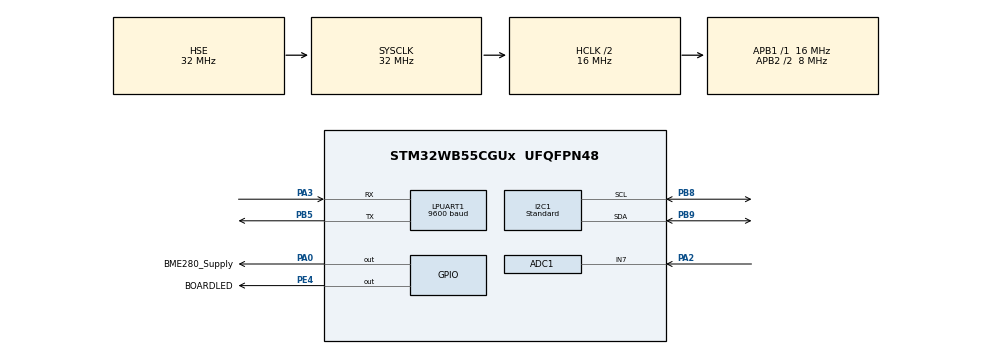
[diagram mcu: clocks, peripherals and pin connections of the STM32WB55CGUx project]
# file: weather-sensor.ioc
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ADC1.Channel-0\#ChannelRegularConversion=ADC_CHANNEL_VREFINT
ADC1.Channel-1\#ChannelRegularConversion=ADC_CHANNEL_TEMPSENSOR
ADC1.Channel-2\#ChannelRegularConversion=ADC_CHANNEL_7
ADC1.ClockPrescaler=ADC_CLOCK_ASYNC_DIV8
ADC1.NbrOfConversion=3
ADC1.NbrOfConversionFlag=1
ADC1.OffsetNumber-0\#ChannelRegularConversion=ADC_OFFSET_NONE
ADC1.OffsetNumber-1\#ChannelRegularConversion=ADC_OFFSET_NONE
ADC1.OffsetNumber-2\#ChannelRegularConversion=ADC_OFFSET_NONE
ADC1.OversamplingMode=ENABLE
ADC1.Rank-0\#ChannelRegularConversion=1
ADC1.Rank-1\#ChannelRegularConversion=2
ADC1.Rank-2\#ChannelRegularConversion=3
ADC1.Ratio=ADC_OVERSAMPLING_RATIO_128
ADC1.RightBitShift=ADC_RIGHTBITSHIFT_7
ADC1.SamplingTime-0\#ChannelRegularConversion=ADC_SAMPLETIME_640CYCLES_5
ADC1.SamplingTime-1\#ChannelRegularConversion=ADC_SAMPLETIME_640CYCLES_5
ADC1.SamplingTime-2\#ChannelRegularConversion=ADC_SAMPLETIME_640CYCLES_5
ADC1.master=1
I2C1.I2C_Speed_Mode=I2C_Standard
I2C1.Speed=100
I2C1.Timing=0x00303D5B
IWDG.Prescaler=IWDG_PRESCALER_256
IWDG.Window=4095
LPTIM1.ClockPrescaler=LPTIM_PRESCALER_DIV32
LPUART1.BaudRate=9600
Mcu.Family=STM32WB
Mcu.Name=STM32WB55CGUx
Mcu.Package=UFQFPN48
NVIC.C2SEV_PWR_C2H_IRQn=true\:0\:0\:false\:false\:true\:true\:false\:true
NVIC.FLASH_IRQn=true\:0\:0\:false\:false\:true\:true\:true\:true
NVIC.HSEM_IRQn=true\:0\:0\:false\:false\:true\:false\:true\:true
NVIC.IPCC_C1_RX_IRQn=true\:0\:0\:false\:false\:true\:true\:true\:true
NVIC.IPCC_C1_TX_IRQn=true\:0\:0\:false\:false\:true\:true\:true\:true
NVIC.PWR_SOTF_BLEACT_802ACT_RFPHASE_IRQn=true\:0\:0\:false\:false\:true\:true\:false\:true
NVIC.PriorityGroup=NVIC_PRIORITYGROUP_4
NVIC.RTC_WKUP_IRQn=true\:0\:0\:false\:false\:true\:true\:true\:true
OSC_IN.Mode=HSE-External-Oscillator
OSC_IN.Signal=RCC_OSC_IN
OSC_OUT.Mode=HSE-External-Oscillator
OSC_OUT.Signal=RCC_OSC_OUT
PA0.GPIO_Label=BME280_Supply
PA0.GPIO_Speed=GPIO_SPEED_FREQ_HIGH
PA0.Signal=GPIO_Output
PA2.Signal=ADCx_IN7
PA3.Mode=Asynchronous
PA3.Signal=LPUART1_RX
PB5.Mode=Asynchronous
PB5.Signal=LPUART1_TX
PB8.GPIO_Pu=GPIO_NOPULL
PB8.GPIO_Speed=GPIO_SPEED_FREQ_HIGH
PB8.Mode=I2C
PB8.Signal=I2C1_SCL
PB9.GPIO_Pu=GPIO_NOPULL
PB9.GPIO_Speed=GPIO_SPEED_FREQ_HIGH
PB9.Mode=I2C
PB9.Signal=I2C1_SDA
PC14-OSC32_IN.Mode=LSE-External-Oscillator
PC14-OSC32_IN.Signal=RCC_OSC32_IN
PC15-OSC32_OUT.Mode=LSE-External-Oscillator
PC15-OSC32_OUT.Signal=RCC_OSC32_OUT
PE4.GPIO_Label=BOARDLED
PE4.Signal=GPIO_Output
ProjectManager.HeapSize=0x19000
ProjectManager.StackSize=0x1000
ProjectManager.TargetToolchain=STM32CubeIDE
RCC.ADCCLockSelection=RCC_ADCCLKSOURCE_SYSCLK
RCC.ADCFreq_Value=32000000
RCC.AHB3CLKDivider=RCC_SYSCLK_DIV4
RCC.AHBCLKDivider=RCC_SYSCLK_DIV2
RCC.AHBFreq_Value=16000000
RCC.APB1Freq_Value=16000000
RCC.APB1TimFreq_Value=16000000
RCC.APB2CLKDivider=RCC_HCLK_DIV2
RCC.APB2Freq_Value=8000000
RCC.APB2TimFreq_Value=16000000
RCC.APB3Freq_Value=16000000
RCC.CortexFreq_Value=16000000
RCC.HCLKFreq_Value=16000000
RCC.HSE_VALUE=32000000
RCC.HSI48_VALUE=48000000
RCC.HSI_VALUE=16000000
RCC.LPTIM1CLockSelection=RCC_LPTIM1CLKSOURCE_LSI
RCC.LPUART1CLockSelection=RCC_LPUART1CLKSOURCE_LSE
RCC.PLLM=RCC_PLLM_DIV8
RCC.PLLN=24
RCC.PLLP=RCC_PLLP_DIV30
RCC.PLLQ=RCC_PLLQ_DIV8
RCC.PLLSAI1N=4
RCC.PLLSAI1Q=RCC_PLLQ_DIV4
RCC.PLLSourceVirtual=RCC_PLLSOURCE_HSE
RCC.RFWKPClockSelection=RCC_RFWKPCLKSOURCE_LSE
RCC.RTCClockSelection=RCC_RTCCLKSOURCE_LSE
RCC.SMPSCLockSelection=RCC_SMPSCLKSOURCE_HSE
RCC.SMPSDivider=4
RCC.SYSCLKFreq_VALUE=32000000
RCC.SYSCLKSource=RCC_SYSCLKSOURCE_HSE
RCC.USBFreq_Value=4000000
RCC.VCOOutputFreq_Value=96000000
RF1.Mode=RF1_Activate
RF1.Signal=RF_RF1
RTC.Alarm-Alarm\ A=RTC_ALARM_A
RTC.AlarmMaskHours-Alarm\ A=RTC_ALARMMASK_HOURS
RTC.AlarmMaskMinutes-Alarm\ A=RTC_ALARMMASK_MINUTES
RTC.AlarmMaskSeconds-Alarm\ A=RTC_ALARMMASK_SECONDS
RTC.Format=RTC_FORMAT_BIN
RTC.Hours_A-Alarm\ A=23
RTC.Minutes_A-Alarm\ A=59
RTC.Seconds_A-Alarm\ A=59
RTC.SubSeconds_A-Alarm\ A=59
RTC.WakeUpClock-WakeUp=RTC_WAKEUPCLOCK_RTCCLK_DIV16
RTC.WakeUpCounter-WakeUp=0x2000
SH.ADCx_IN7.0=ADC1_IN7,IN7-Single-Ended
STM32_WPAN.APPLI_CONFIG_LOG_LEVEL=LOG_LEVEL_DEBG
STM32_WPAN.CB_ELECTRICALMEASUREMENT_SERVER_GETPROFILEINFO_ENDPOINT1=true
STM32_WPAN.CFG_DEBUG_TRACE_FULL=1
STM32_WPAN.CFG_DEBUG_TRACE_LIGHT=1
STM32_WPAN.CFG_DEBUG_TRACE_UART=hw_lpuart1
STM32_WPAN.CFG_HW_LPUART1_ENABLED=1
STM32_WPAN.CFG_HW_USART1_ENABLED=1
STM32_WPAN.CFG_LPM_SUPPORTED=1
STM32_WPAN.CFG_USE_SMPS=1
STM32_WPAN.ENDPOINT1_DEVICE_ID=ZCL_DEVICE_SIMPLE_SENSOR
STM32_WPAN.ZCL_ELECTRICALMEASUREMENT_ENDPOINT1=SERVER
STM32_WPAN.ZCL_ILLUMINANCE_MEASUREMENT_ENDPOINT1=NONE
STM32_WPAN.ZCL_ONOFF_ENDPOINT1=NONE
STM32_WPAN.ZCL_POWER_CONFIGURATION_ENDPOINT1=NONE
STM32_WPAN.ZCL_PRESSURE_MEASUREMENT_ENDPOINT1=SERVER
STM32_WPAN.ZCL_TEMPERATURE_MEASUREMENT_ENDPOINT1=SERVER
STM32_WPAN.ZCL_WATER_CONTENT_MEASUREMENT_ENDPOINT1=SERVER
STM32_WPAN.ZGB_APPLICATION=RFD
STM32_WPAN.ZGB_CHANNEL=26
STM32_WPAN.ZGB_DEVICE_ROLE=END_DEVICE
STM32_WPAN.ZGB_NB_ENDPOINTS=1
STM32_WPAN.ZGB_SLEEPY_MODE=ON
STM32_WPAN.ZPARAM_TEMPERATURE_MEASUREMENT_MAX_ENDPOINT1=5000
STM32_WPAN.ZPARAM_TEMPERATURE_MEASUREMENT_MIN_ENDPOINT1=-2000
STM32_WPAN.ZPARAM_TEMPERATURE_MEASUREMENT_TOLERANCE_ENDPOINT1=200
VP_ADC1_TempSens_Input.Mode=IN-TempSens
VP_ADC1_Vref_Input.Mode=IN-Vrefint
VP_HSEM_VS_HSEM.Mode=HSEM_Activate
VP_IPCC_VS_IPCC.Mode=IPCC_Activate
VP_IWDG_VS_IWDG.Mode=IWDG_Activate
VP_LPTIM1_VS_LPTIM_counterModeInternalClock.Mode=Counts__internal_clock_event_00
VP_MEMORYMAP_VS_MEMORYMAP.Mode=CurAppReg
VP_RTC_VS_RTC_Activate.Mode=RTC_Enabled
VP_RTC_VS_RTC_Alarm_A_Intern.Mode=Alarm A
VP_RTC_VS_RTC_Calendar.Mode=RTC_Calendar
VP_RTC_VS_RTC_WakeUp_intern.Mode=WakeUp
VP_SEQUENCER_VS_SEQUENCER.Mode=SEQUENCER_Enabled
VP_STM32_WPAN_VS_ZIGBEE.Mode=MOD_ZGB_ENDPOINT
VP_TINY_LPM_VS_TINY_LPM.Mode=TINY_LPM_Enabled
board=custom

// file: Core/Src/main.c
/* USER CODE BEGIN Header */
/**
  ******************************************************************************
  * @file           : main.c
  * @brief          : Main program body
  ******************************************************************************
  * @attention
  *
  * Copyright (c) 2025 STMicroelectronics.
  * All rights reserved.
  *
  * This software is licensed under terms that can be found in the LICENSE file
  * in the root directory of this software component.
  * If no LICENSE file comes with this software, it is provided AS-IS.
  *
  ******************************************************************************
  */
/* USER CODE END Header */
#include "main.h"

/* USER CODE BEGIN Includes */
#include "stm32_seq.h"
#include "stm_logging.h"
#include "dbg_trace.h"
#include "zigbee.h"
#include "app_zigbee.h"
#include "stm32_lpm.h"
#include "stm32_lpm_if.h"
#include "hw_if.h"

#include "zcl/general/zcl.press.meas.h"
#include "zcl/general/zcl.temp.meas.h"
#include "zcl/general/zcl.elec.meas.h"
#include "zcl/general/zcl.wcm.h"

#include "bme280_support.h"
#include "aht20.h"
/* USER CODE END Includes */

/* USER CODE BEGIN PD */

#define HW_TS_SERVER_20S_NB_TICKS                    (SENSOR_INTERVAL *1000*1000/CFG_TS_TICK_VAL) /* 20s */
/* USER CODE END PD */

I2C_HandleTypeDef hi2c1;

IPCC_HandleTypeDef hipcc;

IWDG_HandleTypeDef hiwdg;

UART_HandleTypeDef hlpuart1;

RTC_HandleTypeDef hrtc;

/* USER CODE BEGIN PV */
struct bme280_data bme280_meas_data;

#if USE_AHT20

static aht20_data_t aht20_data;

#endif

uint8_t hwSensorTimerId = CFG_HW_TS_MAX_NBR_CONCURRENT_TIMER;
uint8_t hwActiveTimerId = CFG_HW_TS_MAX_NBR_CONCURRENT_TIMER;

static unsigned SysTicks_us = 0;

uint8_t adc_num_conversions = 0;
int vrefplus = 0;
int internal_tc = 0;
int adc1_voltage = 0;

unsigned iwdg_update_req = 0;
unsigned iwdg_update_cnt = 0;

/* USER CODE END PV */

void SystemClock_Config(void);
void PeriphCommonClock_Config(void);
static void MX_GPIO_Init(void);
static void MX_IPCC_Init(void);
static void MX_RTC_Init(void);
static void MX_I2C1_Init(void);
static void MX_IWDG_Init(void);
static void MX_ADC1_Init(void);
static void MX_LPTIM1_Init(void);
static void MX_LPUART1_UART_Init(void);
static void MX_RF_Init(void);
/* USER CODE BEGIN PFP */
static void setup_lptimer(void);

static void ADC_check(int idx);
static void ADC_check_print(void);

/* USER CODE END PFP */

/* USER CODE BEGIN 0 */

static uint32_t dbg_counter = 0, dbg_prev = 0;

static int wait_for_flag(uint32_t (*flag_func)(const ADC_TypeDef *ADCx), uint32_t flag)
{
	uint32_t timeout = 1000; //ms
	uint32_t count = 0;
	uint32_t prev = HAL_GetTick();

	while (flag_func(ADC1) != flag)
	{
		HAL_Delay(20);
		count = HAL_GetTick() - prev;
		if (count > timeout) {
			dbg_counter = count;
			dbg_prev = prev;
			return -1;
		}
	}
	return count;
}

static void read_voltage_and_temp(void)
{
	int32_t adc_readings[adc_num_conversions];
	int32_t wait_time[adc_num_conversions];

	if (LL_ADC_IsActiveFlag_ADRDY(ADC1) == 0) { /* ADC is not ready */
		APP_DBG("ADC not ready.");
		return;
	}

	unsigned i;
	for (i = 0; i < adc_num_conversions; i++) {
		LL_ADC_REG_StartConversion(ADC1);
		wait_time[i] = wait_for_flag(LL_ADC_IsActiveFlag_EOC, 1);
		if (wait_time[i] < 0) {
			APP_DBG("ADC CH%d timeout", i);
			return;
		}
		adc_readings[i] = LL_ADC_REG_ReadConversionData12(ADC1);
	}

	int vref_adc = adc_readings[0];
	int temp_adc = adc_readings[1];
	int ch1_adc  = adc_readings[2];

	if (vref_adc > 0)
		vrefplus = __LL_ADC_CALC_VREFANALOG_VOLTAGE(vref_adc, LL_ADC_RESOLUTION_12B);
	if(temp_adc > 0)
		internal_tc = 100* __LL_ADC_CALC_TEMPERATURE(vrefplus, temp_adc, LL_ADC_RESOLUTION_12B);

	adc1_voltage = __LL_ADC_CALC_DATA_TO_VOLTAGE(vrefplus, ch1_adc, LL_ADC_RESOLUTION_12B);
}

/* Enable the ADC as explained in Examples_LL/ADC_SingleConversion_TriggerSW_Init */
static int adc_enable(void)
{
	/* First, turn on the power */
	LL_ADC_DisableDeepPowerDown(ADC1);
	LL_ADC_EnableInternalRegulator(ADC1);

	/* Delay for voltage regulator stabilization */
	HAL_Delay(1);

	/* Clear ADC group regular conversion flag and overrun flag               */
    /* (To ensure of no unknown state from potential previous ADC operations) */
	LL_ADC_ClearFlag_EOC(ADC1);
	LL_ADC_ClearFlag_EOS(ADC1);
	LL_ADC_ClearFlag_EOSMP(ADC1);
	LL_ADC_ClearFlag_OVR(ADC1);

	/* Run ADC self calibration and wait for completion */
        LL_ADC_StartCalibration(ADC1, LL_ADC_SINGLE_ENDED);
        if (wait_for_flag(LL_ADC_IsCalibrationOnGoing, 0) < 0) {
    	   ADC_check(1);
    	   return -1;
        }
	/* Another short delay is needed here */
	HAL_Delay(1);

	/* Now enable the ADC and wait for its Ready flag */
	LL_ADC_Enable(ADC1);
	if (wait_for_flag(LL_ADC_IsActiveFlag_ADRDY, 1) < 0) {
		return -2;
	}
//	APP_DBG("ADC regs: CR:0x%x ISR:0x%x", ADC1->CR, ADC1->ISR);
	return 0;
}

/* Disable the ADC as described in RM034*/
static void adc_disable(void)
{
	/* Stop conversions and wait for ADSTP to clear*/
	LL_ADC_REG_StopConversion(ADC1);
	while (LL_ADC_REG_IsStopConversionOngoing(ADC1)) {}

	/* Clear Ready flag */
	LL_ADC_ClearFlag_ADRDY(ADC1);

	/* Set disable bit and wait for ADEN to clear */
	LL_ADC_Disable(ADC1);
	while (LL_ADC_IsEnabled(ADC1)) {}

	/* Finally, cut the power */
	LL_ADC_DisableInternalRegulator(ADC1);
	LL_ADC_EnableDeepPowerDown(ADC1);
}

/*
 * Main application loop. Read the sensors and update Zigbee attributes.
 * */

void seq_main_loop(void)
{
	LL_GPIO_SetOutputPin(BME280_Supply_GPIO_Port, BME280_Supply_Pin);

	HAL_Delay(10);

	MX_I2C1_Init();

	int adc_res = adc_enable();
	if (0 == adc_res) {
		read_voltage_and_temp();
		if (0 == adc1_voltage) {
			APP_DBG("ADC regs: CR:0x%x ISR:0x%x", ADC1->CR, ADC1->ISR);
		}
	} else {
		APP_DBG("ADC error: %d", adc_res);
		ADC_check_print();
		APP_DBG("Timeout counters: %u, %u", dbg_counter, dbg_prev);
	}

	adc_disable();

	/*
	 * Voltage at the ADC pin is produced by the voltage divider, where R1=1M, and R2=330K.
	 * After calibration I have obtained this ratio: 8105/2048, choosing power of 2 as a scale for performance reason.
	 * */
	int vdd_divided = (adc1_voltage * 8105) / 2048;

	/* Update the ADC attributes so that C2 can possibly begin transmission while we read the I2C sensors. */
	APP_ZIGBEE_update_ADC_outputs(vdd_divided);

	int8_t bme280_status = bme280_setup();

#if USE_AHT20
	HAL_Delay(50);
	aht_status_t aht_status = aht20_setup();
#endif

	if (BME280_OK == bme280_status) {
		bme280_status = bme280_read_measurements(&bme280_meas_data);
		bme280_meas_data.humidity = (bme280_meas_data.humidity * 100 + 512) / 1024;
	}

	if (BME280_OK != bme280_status) {
		bme280_meas_data.temperature = ZCL_TEMP_MEAS_UNKNOWN;
		bme280_meas_data.pressure = ZCL_PRESS_MEAS_UNKNOWN;
		bme280_meas_data.humidity = ZCL_WC_MEAS_UNKNOWN;

	}

#if USE_AHT20
	bme280_meas_data.humidity = ZCL_WC_MEAS_UNKNOWN;
	if (AHT_NO_ERROR == aht_status) {
		HAL_Delay(50);
		aht_status = aht20_read_measurements(&aht20_data);
		if (AHT_NO_ERROR == aht_status) {
			bme280_meas_data.humidity = aht20_data.humidity;
		}

		/* Use AHT temperature measurement if BMP280 data is unavailable. */
		if (ZCL_TEMP_MEAS_UNKNOWN == bme280_meas_data.temperature) {
			bme280_meas_data.temperature = aht20_data.temperature;
/*
		} else {
		    if (bme280_meas_data.temperature < 128 && bme280_meas_data.temperature > 0) {
			bme280_meas_data.temperature = (bme280_meas_data.temperature * bme280_meas_data.temperature +
			    aht20_data.temperature * (128 - bme280_meas_data.temperature)) / 128;
		    } else if (bme280_meas_data.temperature <= 0) {
			bme280_meas_data.temperature = aht20_data.temperature;
		    }
*/
		}
	}
#endif

	LL_GPIO_ResetOutputPin(BME280_Supply_GPIO_Port, BME280_Supply_Pin);
	HAL_I2C_DeInit(&hi2c1);

	/* Update the attributes with fresh data*/
	APP_ZIGBEE_update_BME280_outputs(bme280_meas_data.temperature,
		bme280_meas_data.pressure, bme280_meas_data.humidity);

}

static void rtc_read_update_sensors(void)
{
	/* Queue the sensor readout routine to be run in the main application loop. */
	UTIL_SEQ_SetTask(1<< CFG_TASK_MAIN_LOOP, CFG_SCH_PRIO_0);

	/* Check Zigbee link health and request IWDG refresh if appropriate. */
	zigbee_check_link();

	if (iwdg_update_req != iwdg_update_cnt) {
	    iwdg_update_cnt = iwdg_update_req;
	    HAL_IWDG_Refresh(&hiwdg);
	    APP_DBG("Watchdog refreshed.")
	}
}
void startSensorUpdates(void)
{
	if (hwSensorTimerId != CFG_HW_TS_MAX_NBR_CONCURRENT_TIMER) {
//		UTIL_SEQ_SetTask(1<< CFG_TASK_MAIN_LOOP, CFG_SCH_PRIO_0);
		seq_main_loop();
		HW_TS_Start(hwSensorTimerId, HW_TS_SERVER_20S_NB_TICKS);
	}
}

void stopSensorUpdates(void)
{
	if (hwSensorTimerId != CFG_HW_TS_MAX_NBR_CONCURRENT_TIMER) {
		HW_TS_Stop(hwSensorTimerId);
	}
}

/* Setup daily restart */
void HAL_RTC_AlarmAEventCallback(RTC_HandleTypeDef *hrtc)
{
	HAL_NVIC_SystemReset();
}

#if CFG_DEBUG_TRACE
/* Debugging routine to direct the log output to the USB */
int _write(int file, char *ptr, int len) {

	HAL_StatusTypeDef res = HAL_UART_Transmit(&hlpuart1, (uint8_t *)ptr, len, 2000);
	if (HAL_OK != res)
		return 0;
	return len;
}
#endif

/*
 * Set the flag allowing to refresh IWDG in the next RTC timer call, see rtc_read_update_sensors().
 */
void update_watchdog(void)
{
  iwdg_update_req += 1;
}
/* USER CODE END 0 */

int main(void)
{

  /* USER CODE BEGIN 1 */
/*
 * Disable auto-generated initialization calls
 */
#define MX_I2C1_Init()

#if  !CFG_DEBUG_TRACE
#define MX_LPUART1_UART_Init()
#endif
  /* USER CODE END 1 */

  /* MCU Configuration--------------------------------------------------------*/

  /* Reset of all peripherals, Initializes the Flash interface and the Systick. */
  HAL_Init();
  /* Config code for STM32_WPAN (HSE Tuning must be done before system clock configuration) */
  MX_APPE_Config();

  /* Configure the system clock */
  SystemClock_Config();

/* Configure the peripherals common clocks */
  PeriphCommonClock_Config();

  /* IPCC initialisation */
  MX_IPCC_Init();

  /* USER CODE BEGIN SysInit */
  SysTicks_us = SystemCoreClock / 1000000U;
  /* USER CODE END SysInit */

  /* Initialize all configured peripherals */
  MX_GPIO_Init();
  MX_RTC_Init();
  MX_I2C1_Init();
  MX_IWDG_Init();
  MX_ADC1_Init();
//  MX_LPTIM1_Init();
  MX_LPUART1_UART_Init();
  MX_RF_Init();
  /* USER CODE BEGIN 2 */
  ADC_check_print();

#undef MX_I2C1_Init

#if  !CFG_DEBUG_TRACE
#undef MX_LPUART1_UART_Init
#endif
  /* USER CODE END 2 */

  /* Init code for STM32_WPAN */
  MX_APPE_Init();

  /* Infinite loop */
  /* USER CODE BEGIN WHILE */
  UTIL_SEQ_RegTask(1U << CFG_TASK_MAIN_LOOP, UTIL_SEQ_RFU, seq_main_loop);

  if (hw_ts_Successful != HW_TS_Create(CFG_TIM_ZIGBEE_APP_BME280_REPEAT, &hwSensorTimerId, hw_ts_Repeated, rtc_read_update_sensors)) {
	  hwSensorTimerId = CFG_HW_TS_MAX_NBR_CONCURRENT_TIMER;
  }
/*
  if (hw_ts_Successful != HW_TS_Create(CFG_TIM_ZIGBEE_APP_BME280_ONESHOT, &hwActiveTimerId, hw_ts_SingleShot, enable_power_saving_mode)) {
	  hwActiveTimerId = CFG_HW_TS_MAX_NBR_CONCURRENT_TIMER;
  }
*/
  while (1)
  {
    /* USER CODE END WHILE */
    MX_APPE_Process();

  }
}

void SystemClock_Config(void)
{
  RCC_OscInitTypeDef RCC_OscInitStruct = {0};
  RCC_ClkInitTypeDef RCC_ClkInitStruct = {0};

  /** Configure LSE Drive Capability
  */
  HAL_PWR_EnableBkUpAccess();
  __HAL_RCC_LSEDRIVE_CONFIG(RCC_LSEDRIVE_MEDIUMHIGH);

  /** Configure the main internal regulator output voltage
  */
  __HAL_PWR_VOLTAGESCALING_CONFIG(PWR_REGULATOR_VOLTAGE_SCALE1);

  /** Initializes the RCC Oscillators according to the specified parameters
  * in the RCC_OscInitTypeDef structure.
  */
  RCC_OscInitStruct.OscillatorType = RCC_OSCILLATORTYPE_HSI|RCC_OSCILLATORTYPE_LSI1
                              |RCC_OSCILLATORTYPE_HSE|RCC_OSCILLATORTYPE_LSE;
  RCC_OscInitStruct.HSEState = RCC_HSE_ON;
  RCC_OscInitStruct.LSEState = RCC_LSE_ON;
  RCC_OscInitStruct.HSIState = RCC_HSI_ON;
  RCC_OscInitStruct.HSICalibrationValue = RCC_HSICALIBRATION_DEFAULT;
  RCC_OscInitStruct.LSIState = RCC_LSI_ON;
  RCC_OscInitStruct.PLL.PLLState = RCC_PLL_NONE;
  if (HAL_RCC_OscConfig(&RCC_OscInitStruct) != HAL_OK)
  {
    Error_Handler();
  }

  /** Configure the SYSCLKSource, HCLK, PCLK1 and PCLK2 clocks dividers
  */
  RCC_ClkInitStruct.ClockType = RCC_CLOCKTYPE_HCLK4|RCC_CLOCKTYPE_HCLK2
                              |RCC_CLOCKTYPE_HCLK|RCC_CLOCKTYPE_SYSCLK
                              |RCC_CLOCKTYPE_PCLK1|RCC_CLOCKTYPE_PCLK2;
  RCC_ClkInitStruct.SYSCLKSource = RCC_SYSCLKSOURCE_HSE;
  RCC_ClkInitStruct.AHBCLKDivider = RCC_SYSCLK_DIV2;
  RCC_ClkInitStruct.APB1CLKDivider = RCC_HCLK_DIV1;
  RCC_ClkInitStruct.APB2CLKDivider = RCC_HCLK_DIV2;
  RCC_ClkInitStruct.AHBCLK2Divider = RCC_SYSCLK_DIV1;
  RCC_ClkInitStruct.AHBCLK4Divider = RCC_SYSCLK_DIV4;

  if (HAL_RCC_ClockConfig(&RCC_ClkInitStruct, FLASH_LATENCY_0) != HAL_OK)
  {
    Error_Handler();
  }
}

void PeriphCommonClock_Config(void)
{
  RCC_PeriphCLKInitTypeDef PeriphClkInitStruct = {0};

  /** Initializes the peripherals clock
  */
  PeriphClkInitStruct.PeriphClockSelection = RCC_PERIPHCLK_SMPS|RCC_PERIPHCLK_RFWAKEUP;
  PeriphClkInitStruct.RFWakeUpClockSelection = RCC_RFWKPCLKSOURCE_LSE;
  PeriphClkInitStruct.SmpsClockSelection = RCC_SMPSCLKSOURCE_HSE;
  PeriphClkInitStruct.SmpsDivSelection = RCC_SMPSCLKDIV_RANGE1;

  if (HAL_RCCEx_PeriphCLKConfig(&PeriphClkInitStruct) != HAL_OK)
  {
    Error_Handler();
  }
}

static void MX_ADC1_Init(void)
{

  LL_ADC_CommonInitTypeDef ADC_CommonInitStruct = {0};
  LL_ADC_InitTypeDef ADC_InitStruct = {0};
  LL_ADC_REG_InitTypeDef ADC_REG_InitStruct = {0};

  LL_GPIO_InitTypeDef GPIO_InitStruct = {0};
  RCC_PeriphCLKInitTypeDef PeriphClkInitStruct = {0};

  /** Initializes the peripherals clock
  */
  PeriphClkInitStruct.PeriphClockSelection = RCC_PERIPHCLK_ADC;
  PeriphClkInitStruct.AdcClockSelection = RCC_ADCCLKSOURCE_SYSCLK;
  if (HAL_RCCEx_PeriphCLKConfig(&PeriphClkInitStruct) != HAL_OK)
  {
    Error_Handler();
  }

  /* Peripheral clock enable */
  LL_AHB2_GRP1_EnableClock(LL_AHB2_GRP1_PERIPH_ADC);

  LL_AHB2_GRP1_EnableClock(LL_AHB2_GRP1_PERIPH_GPIOA);
  /**ADC1 GPIO Configuration
  PA2   ------> ADC1_IN7
  */
  GPIO_InitStruct.Pin = LL_GPIO_PIN_2;
  GPIO_InitStruct.Mode = LL_GPIO_MODE_ANALOG;
  GPIO_InitStruct.Pull = LL_GPIO_PULL_NO;
  LL_GPIO_Init(GPIOA, &GPIO_InitStruct);

  /** Common config
  */
  ADC_CommonInitStruct.CommonClock = LL_ADC_CLOCK_ASYNC_DIV16;
  LL_ADC_CommonInit(__LL_ADC_COMMON_INSTANCE(ADC1), &ADC_CommonInitStruct);
  ADC_InitStruct.Resolution = LL_ADC_RESOLUTION_12B;
  ADC_InitStruct.DataAlignment = LL_ADC_DATA_ALIGN_RIGHT;
  ADC_InitStruct.LowPowerMode = LL_ADC_LP_MODE_NONE;
  LL_ADC_Init(ADC1, &ADC_InitStruct);
  ADC_REG_InitStruct.TriggerSource = LL_ADC_REG_TRIG_SOFTWARE;
  ADC_REG_InitStruct.SequencerLength = LL_ADC_REG_SEQ_SCAN_ENABLE_3RANKS;
  ADC_REG_InitStruct.SequencerDiscont = LL_ADC_REG_SEQ_DISCONT_DISABLE;
  ADC_REG_InitStruct.ContinuousMode = LL_ADC_REG_CONV_SINGLE;
  ADC_REG_InitStruct.DMATransfer = LL_ADC_REG_DMA_TRANSFER_NONE;
  ADC_REG_InitStruct.Overrun = LL_ADC_REG_OVR_DATA_PRESERVED;
  LL_ADC_REG_Init(ADC1, &ADC_REG_InitStruct);
  LL_ADC_SetOverSamplingScope(ADC1, LL_ADC_OVS_GRP_REGULAR_CONTINUED);
  LL_ADC_ConfigOverSamplingRatioShift(ADC1, LL_ADC_OVS_RATIO_128, LL_ADC_OVS_SHIFT_RIGHT_7);
  LL_ADC_SetOverSamplingDiscont(ADC1, LL_ADC_OVS_REG_CONT);

  /* Disable ADC deep power down (enabled by default after reset state) */
  LL_ADC_DisableDeepPowerDown(ADC1);
  /* Enable ADC internal voltage regulator */
  LL_ADC_EnableInternalRegulator(ADC1);
  /* Delay for ADC internal voltage regulator stabilization. */
  /* Compute number of CPU cycles to wait for, from delay in us. */
  /* Note: Variable divided by 2 to compensate partially */
  /* CPU processing cycles (depends on compilation optimization). */
  /* Note: If system core clock frequency is below 200kHz, wait time */
  /* is only a few CPU processing cycles. */
  uint32_t wait_loop_index;
  wait_loop_index = ((LL_ADC_DELAY_INTERNAL_REGUL_STAB_US * (SystemCoreClock / (100000 * 2))) / 10);
  while(wait_loop_index != 0)
  {
    wait_loop_index--;
  }

  /** Configure Internal Channel
  */
  LL_ADC_SetCommonPathInternalCh(__LL_ADC_COMMON_INSTANCE(ADC1), LL_ADC_PATH_INTERNAL_VREFINT|LL_ADC_PATH_INTERNAL_TEMPSENSOR);

  /** Configure Regular Channel
  */
  LL_ADC_REG_SetSequencerRanks(ADC1, LL_ADC_REG_RANK_1, LL_ADC_CHANNEL_VREFINT);
  LL_ADC_SetChannelSamplingTime(ADC1, LL_ADC_CHANNEL_VREFINT, LL_ADC_SAMPLINGTIME_640CYCLES_5);
  LL_ADC_SetChannelSingleDiff(ADC1, LL_ADC_CHANNEL_VREFINT, LL_ADC_SINGLE_ENDED);

  /** Configure Regular Channel
  */
  LL_ADC_REG_SetSequencerRanks(ADC1, LL_ADC_REG_RANK_2, LL_ADC_CHANNEL_TEMPSENSOR);
  LL_ADC_SetChannelSamplingTime(ADC1, LL_ADC_CHANNEL_TEMPSENSOR, LL_ADC_SAMPLINGTIME_640CYCLES_5);
  LL_ADC_SetChannelSingleDiff(ADC1, LL_ADC_CHANNEL_TEMPSENSOR, LL_ADC_SINGLE_ENDED);

  /** Configure Regular Channel
  */
  LL_ADC_REG_SetSequencerRanks(ADC1, LL_ADC_REG_RANK_3, LL_ADC_CHANNEL_7);
  LL_ADC_SetChannelSamplingTime(ADC1, LL_ADC_CHANNEL_7, LL_ADC_SAMPLINGTIME_640CYCLES_5);
  LL_ADC_SetChannelSingleDiff(ADC1, LL_ADC_CHANNEL_7, LL_ADC_SINGLE_ENDED);
  /* USER CODE BEGIN ADC1_Init 2 */

  adc_num_conversions = ADC_REG_InitStruct.SequencerLength ? ADC_REG_InitStruct.SequencerLength + 1 : 0;
  ADC_check(0);
  /* USER CODE END ADC1_Init 2 */

}

static void MX_I2C1_Init(void)
{

  hi2c1.Instance = I2C1;
  hi2c1.Init.Timing = 0x00303D5B;
  hi2c1.Init.OwnAddress1 = 0;
  hi2c1.Init.AddressingMode = I2C_ADDRESSINGMODE_7BIT;
  hi2c1.Init.DualAddressMode = I2C_DUALADDRESS_DISABLE;
  hi2c1.Init.OwnAddress2 = 0;
  hi2c1.Init.OwnAddress2Masks = I2C_OA2_NOMASK;
  hi2c1.Init.GeneralCallMode = I2C_GENERALCALL_DISABLE;
  hi2c1.Init.NoStretchMode = I2C_NOSTRETCH_DISABLE;
  if (HAL_I2C_Init(&hi2c1) != HAL_OK)
  {
    Error_Handler();
  }

  /** Configure Analogue filter
  */
  if (HAL_I2CEx_ConfigAnalogFilter(&hi2c1, I2C_ANALOGFILTER_ENABLE) != HAL_OK)
  {
    Error_Handler();
  }

  /** Configure Digital filter
  */
  if (HAL_I2CEx_ConfigDigitalFilter(&hi2c1, 0) != HAL_OK)
  {
    Error_Handler();
  }

}

static void MX_IPCC_Init(void)
{

  hipcc.Instance = IPCC;
  if (HAL_IPCC_Init(&hipcc) != HAL_OK)
  {
    Error_Handler();
  }

}

static void MX_IWDG_Init(void)
{

  hiwdg.Instance = IWDG;
  hiwdg.Init.Prescaler = IWDG_PRESCALER_256;
  hiwdg.Init.Window = 4095;
  hiwdg.Init.Reload = 4095;
  if (HAL_IWDG_Init(&hiwdg) != HAL_OK)
  {
    Error_Handler();
  }

}

static void MX_LPTIM1_Init(void)
{

  RCC_PeriphCLKInitTypeDef PeriphClkInitStruct = {0};

  /** Initializes the peripherals clock
  */
  PeriphClkInitStruct.PeriphClockSelection = RCC_PERIPHCLK_LPTIM1;
  PeriphClkInitStruct.Lptim1ClockSelection = RCC_LPTIM1CLKSOURCE_LSI;
  if (HAL_RCCEx_PeriphCLKConfig(&PeriphClkInitStruct) != HAL_OK)
  {
    Error_Handler();
  }

  /* Peripheral clock enable */
  LL_APB1_GRP1_EnableClock(LL_APB1_GRP1_PERIPH_LPTIM1);

  LL_LPTIM_SetClockSource(LPTIM1, LL_LPTIM_CLK_SOURCE_INTERNAL);
  LL_LPTIM_SetPrescaler(LPTIM1, LL_LPTIM_PRESCALER_DIV32);
  LL_LPTIM_SetPolarity(LPTIM1, LL_LPTIM_OUTPUT_POLARITY_REGULAR);
  LL_LPTIM_SetUpdateMode(LPTIM1, LL_LPTIM_UPDATE_MODE_IMMEDIATE);
  LL_LPTIM_SetCounterMode(LPTIM1, LL_LPTIM_COUNTER_MODE_INTERNAL);
  LL_LPTIM_TrigSw(LPTIM1);
  LL_LPTIM_SetInput1Src(LPTIM1, LL_LPTIM_INPUT1_SRC_GPIO);
  LL_LPTIM_SetInput2Src(LPTIM1, LL_LPTIM_INPUT2_SRC_GPIO);
  /* USER CODE BEGIN LPTIM1_Init 2 */
  setup_lptimer();
  /* USER CODE END LPTIM1_Init 2 */

}

static void MX_LPUART1_UART_Init(void)
{

  hlpuart1.Instance = LPUART1;
  hlpuart1.Init.BaudRate = 9600;
  hlpuart1.Init.WordLength = UART_WORDLENGTH_8B;
  hlpuart1.Init.StopBits = UART_STOPBITS_1;
  hlpuart1.Init.Parity = UART_PARITY_NONE;
  hlpuart1.Init.Mode = UART_MODE_TX_RX;
  hlpuart1.Init.HwFlowCtl = UART_HWCONTROL_NONE;
  hlpuart1.Init.OneBitSampling = UART_ONE_BIT_SAMPLE_DISABLE;
  hlpuart1.Init.ClockPrescaler = UART_PRESCALER_DIV1;
  hlpuart1.AdvancedInit.AdvFeatureInit = UART_ADVFEATURE_NO_INIT;
  hlpuart1.FifoMode = UART_FIFOMODE_DISABLE;
  if (HAL_UART_Init(&hlpuart1) != HAL_OK)
  {
    Error_Handler();
  }
  if (HAL_UARTEx_SetTxFifoThreshold(&hlpuart1, UART_TXFIFO_THRESHOLD_1_8) != HAL_OK)
  {
    Error_Handler();
  }
  if (HAL_UARTEx_SetRxFifoThreshold(&hlpuart1, UART_RXFIFO_THRESHOLD_1_8) != HAL_OK)
  {
    Error_Handler();
  }
  if (HAL_UARTEx_DisableFifoMode(&hlpuart1) != HAL_OK)
  {
    Error_Handler();
  }

}

static void MX_RF_Init(void)
{

}

static void MX_RTC_Init(void)
{

  RTC_TimeTypeDef sTime = {0};
  RTC_DateTypeDef sDate = {0};
  RTC_AlarmTypeDef sAlarm = {0};

  /** Initialize RTC Only
  */
  hrtc.Instance = RTC;
  hrtc.Init.HourFormat = RTC_HOURFORMAT_24;
  hrtc.Init.AsynchPrediv = CFG_RTC_ASYNCH_PRESCALER;
  hrtc.Init.SynchPrediv = CFG_RTC_SYNCH_PRESCALER;
  hrtc.Init.OutPut = RTC_OUTPUT_DISABLE;
  hrtc.Init.OutPutPolarity = RTC_OUTPUT_POLARITY_HIGH;
  hrtc.Init.OutPutType = RTC_OUTPUT_TYPE_OPENDRAIN;
  hrtc.Init.OutPutRemap = RTC_OUTPUT_REMAP_NONE;
  if (HAL_RTC_Init(&hrtc) != HAL_OK)
  {
    Error_Handler();
  }

  /** Initialize RTC and set the Time and Date
  */
  sTime.Hours = 0;
  sTime.Minutes = 0;
  sTime.Seconds = 0;
  sTime.SubSeconds = 0x0;
  sTime.DayLightSaving = RTC_DAYLIGHTSAVING_NONE;
  sTime.StoreOperation = RTC_STOREOPERATION_RESET;
  if (HAL_RTC_SetTime(&hrtc, &sTime, RTC_FORMAT_BIN) != HAL_OK)
  {
    Error_Handler();
  }
  sDate.WeekDay = RTC_WEEKDAY_MONDAY;
  sDate.Month = RTC_MONTH_JANUARY;
  sDate.Date = 1;
  sDate.Year = 0;
  if (HAL_RTC_SetDate(&hrtc, &sDate, RTC_FORMAT_BIN) != HAL_OK)
  {
    Error_Handler();
  }

  /** Enable the Alarm A
  */
  sAlarm.AlarmTime.Hours = 23;
  sAlarm.AlarmTime.Minutes = 59;
  sAlarm.AlarmTime.Seconds = 59;
  sAlarm.AlarmTime.SubSeconds = 59;
  sAlarm.AlarmTime.DayLightSaving = RTC_DAYLIGHTSAVING_NONE;
  sAlarm.AlarmTime.StoreOperation = RTC_STOREOPERATION_RESET;
  sAlarm.AlarmMask = RTC_ALARMMASK_HOURS|RTC_ALARMMASK_MINUTES
                              |RTC_ALARMMASK_SECONDS;
  sAlarm.AlarmSubSecondMask = RTC_ALARMSUBSECONDMASK_ALL;
  sAlarm.AlarmDateWeekDaySel = RTC_ALARMDATEWEEKDAYSEL_DATE;
  sAlarm.AlarmDateWeekDay = 1;
  sAlarm.Alarm = RTC_ALARM_A;
  if (HAL_RTC_SetAlarm(&hrtc, &sAlarm, RTC_FORMAT_BIN) != HAL_OK)
  {
    Error_Handler();
  }

  /** Enable the WakeUp
  */
  if (HAL_RTCEx_SetWakeUpTimer_IT(&hrtc, 0x2000, RTC_WAKEUPCLOCK_RTCCLK_DIV16) != HAL_OK)
  {
    Error_Handler();
  }
  /* USER CODE BEGIN RTC_Init 2 */
//  HAL_RTC_DeactivateAlarm(&hrtc, RTC_ALARM_A);
  /* USER CODE END RTC_Init 2 */

}

static void MX_GPIO_Init(void)
{
  LL_GPIO_InitTypeDef GPIO_InitStruct = {0};

  /* GPIO Ports Clock Enable */
  LL_AHB2_GRP1_EnableClock(LL_AHB2_GRP1_PERIPH_GPIOC);
  LL_AHB2_GRP1_EnableClock(LL_AHB2_GRP1_PERIPH_GPIOB);
  LL_AHB2_GRP1_EnableClock(LL_AHB2_GRP1_PERIPH_GPIOA);
  LL_AHB2_GRP1_EnableClock(LL_AHB2_GRP1_PERIPH_GPIOE);

  /**/
  LL_GPIO_ResetOutputPin(BME280_Supply_GPIO_Port, BME280_Supply_Pin);

  /**/
  LL_GPIO_ResetOutputPin(BOARDLED_GPIO_Port, BOARDLED_Pin);

  /**/
  GPIO_InitStruct.Pin = BME280_Supply_Pin;
  GPIO_InitStruct.Mode = LL_GPIO_MODE_OUTPUT;
  GPIO_InitStruct.Speed = LL_GPIO_SPEED_FREQ_HIGH;
  GPIO_InitStruct.OutputType = LL_GPIO_OUTPUT_PUSHPULL;
  GPIO_InitStruct.Pull = LL_GPIO_PULL_NO;
  LL_GPIO_Init(BME280_Supply_GPIO_Port, &GPIO_InitStruct);

  /**/
  GPIO_InitStruct.Pin = BOARDLED_Pin;
  GPIO_InitStruct.Mode = LL_GPIO_MODE_OUTPUT;
  GPIO_InitStruct.Speed = LL_GPIO_SPEED_FREQ_LOW;
  GPIO_InitStruct.OutputType = LL_GPIO_OUTPUT_PUSHPULL;
  GPIO_InitStruct.Pull = LL_GPIO_PULL_NO;
  LL_GPIO_Init(BOARDLED_GPIO_Port, &GPIO_InitStruct);

}

/* USER CODE BEGIN 4 */
#if CFG_DEBUG_TRACE
struct adc_config_params {
	const char *desc;
	uint32_t values[2];
} adc_config_params[] = {
	{ .desc = "Clock source :", },
	{ .desc = "Clock enabled:", },
	{ .desc = "PLL Config   :", },
	{ .desc = "PLLSAI1 MulN :", },
	{ .desc = "PLLSAI1 DivP :", },
	{ .desc = "ADC Freq     :", },
	{ .desc = "Pin mode     :", },
	{ .desc = "Common clock :", },
	{ .desc = "Low power    :", },
	{ .desc = "SW Trigger   :", },
	{ .desc = "Power down   :", },
	{ .desc = "Int Regulator:", },
	{ .desc = "Int Channels :", },
	{ .desc = "CR reg       :", },
	{ .desc = "ISR reg      :", },
	{ .desc = "Rank 1 Chan  :", },
	{ .desc = "Rank 1 Time  :", },
	{ .desc = "Rank 1 Diff  :", },
	{ .desc = "Rank 2 Chan  :", },
	{ .desc = "Rank 2 Time  :", },
	{ .desc = "Rank 2 Diff  :", },
	{ .desc = "Rank 3 Chan  :", },
	{ .desc = "Rank 3 Time  :", },
	{ .desc = "Rank 3 Diff  :", },
};
#endif

static void ADC_check(int idx)
{
#if CFG_DEBUG_TRACE
	int q, p = 0;
	adc_config_params[p++].values[idx] = LL_RCC_GetADCClockSource(LL_RCC_ADC_CLKSOURCE);
	adc_config_params[p++].values[idx] = LL_AHB2_GRP1_IsEnabledClock(LL_AHB2_GRP1_PERIPH_ADC);
	adc_config_params[p++].values[idx] = __HAL_RCC_GET_PLLCLKOUT_CONFIG(RCC_PLL_SAI1CLK);
	adc_config_params[p++].values[idx] = LL_RCC_PLLSAI1_GetN();
	adc_config_params[p++].values[idx] = LL_RCC_PLLSAI1_GetP();
	adc_config_params[p++].values[idx] = LL_RCC_GetADCClockFreq(LL_RCC_ADC_CLKSOURCE);
	adc_config_params[p++].values[idx] = LL_GPIO_GetPinMode(GPIOA, LL_GPIO_PIN_2);
	adc_config_params[p++].values[idx] = LL_ADC_GetCommonClock(__LL_ADC_COMMON_INSTANCE(ADC1));
	adc_config_params[p++].values[idx] = LL_ADC_GetLowPowerMode(ADC1);
	adc_config_params[p++].values[idx] = LL_ADC_REG_IsTriggerSourceSWStart(ADC1);
	adc_config_params[p++].values[idx] = LL_ADC_IsDeepPowerDownEnabled(ADC1);
	adc_config_params[p++].values[idx] = LL_ADC_IsInternalRegulatorEnabled(ADC1);
	adc_config_params[p++].values[idx] = LL_ADC_GetCommonPathInternalCh(__LL_ADC_COMMON_INSTANCE(ADC1));
	adc_config_params[p++].values[idx] = ADC1->CR;
	adc_config_params[p++].values[idx] = ADC1->ISR;
	adc_config_params[p++].values[idx] = LL_ADC_REG_GetSequencerRanks(ADC1, LL_ADC_REG_RANK_1);
	q = p;
	adc_config_params[p++].values[idx] = LL_ADC_GetChannelSamplingTime(ADC1, adc_config_params[q].values[idx]);
	adc_config_params[p++].values[idx] = LL_ADC_GetChannelSingleDiff(ADC1, adc_config_params[q].values[idx]);
	adc_config_params[p++].values[idx] = LL_ADC_REG_GetSequencerRanks(ADC1, LL_ADC_REG_RANK_2);
	q = p;
	adc_config_params[p++].values[idx] = LL_ADC_GetChannelSamplingTime(ADC1, adc_config_params[q].values[idx]);
	adc_config_params[p++].values[idx] = LL_ADC_GetChannelSingleDiff(ADC1, adc_config_params[q].values[idx]);
	adc_config_params[p++].values[idx] = LL_ADC_REG_GetSequencerRanks(ADC1, LL_ADC_REG_RANK_3);
	q = p;
	adc_config_params[p++].values[idx] = LL_ADC_GetChannelSamplingTime(ADC1, adc_config_params[q].values[idx]);
	adc_config_params[p++].values[idx] = LL_ADC_GetChannelSingleDiff(ADC1, adc_config_params[q].values[idx]);
#endif
}

static void ADC_check_print(void)
{
#if CFG_DEBUG_TRACE
	unsigned n = sizeof(adc_config_params) / sizeof(adc_config_params[0]);
	unsigned n2 = n / 2;
	unsigned i;
	for (i = 0; i < n - n2; i++) {
		unsigned i2 = i + n - n2;
		if (i2 < n) {
			APP_DBG("%s %08x %08x\t%s %08x %08x",
					adc_config_params[i].desc, adc_config_params[i].values[0], adc_config_params[i].values[1],
					adc_config_params[i2].desc, adc_config_params[i2].values[0], adc_config_params[i2].values[1])
		} else {
			APP_DBG("%s %08x %08x", adc_config_params[i].desc, adc_config_params[i].values[0], adc_config_params[i].values[1])
		}
	}
#endif
}

#if defined (LPTIM1)
static uint32_t lp_tick = 0;
static uint16_t lp_prev_counter = 0;

/*
 * Count ticks in Run or Stop modes.
 * LPTIM1 is set with 1/32 divider so that it counts milliseconds.
 * To prevent the counter overflow this GetTick function needs to be called
 * at least once every 65.535 seconds.
 * */
uint32_t HAL_GetTick(void)
{
	if (0 == LPTIM1->ARR) {
		lp_tick = uwTick;
	} else {
		uint16_t counter = LL_LPTIM_GetCounter(LPTIM1);
		uint16_t delta = counter - lp_prev_counter;
		lp_tick += (uint32_t)delta;
		lp_prev_counter += delta;
	}
	return lp_tick;
}

HAL_StatusTypeDef HAL_InitTick(uint32_t TickPriority)
{
	SysTick_Config(HAL_RCC_GetHCLKFreq() / 1000U);
	uwTickFreq = 1;

	if (0 != LPTIM1->ARR) { /* Timer has already been initialized */
		LL_LPTIM_Enable(LPTIM1);
		while (!LL_LPTIM_IsEnabled(LPTIM1)) { ; }
		LL_LPTIM_StartCounter(LPTIM1, LL_LPTIM_OPERATING_MODE_CONTINUOUS);
	} else {
		lp_tick = 0;
	}
	HAL_StatusTypeDef  status = HAL_OK;
	return status;
}

static void setup_lptimer(void)
{
	LL_LPTIM_Enable(LPTIM1);
	while (!LL_LPTIM_IsEnabled(LPTIM1)) { ; }
	LL_LPTIM_SetAutoReload(LPTIM1, ~0);
	LL_LPTIM_StartCounter(LPTIM1, LL_LPTIM_OPERATING_MODE_CONTINUOUS);
}
#endif

/* USER CODE END 4 */

void Error_Handler(void)
{
  __disable_irq();
  while (1)
  {
  }
}
